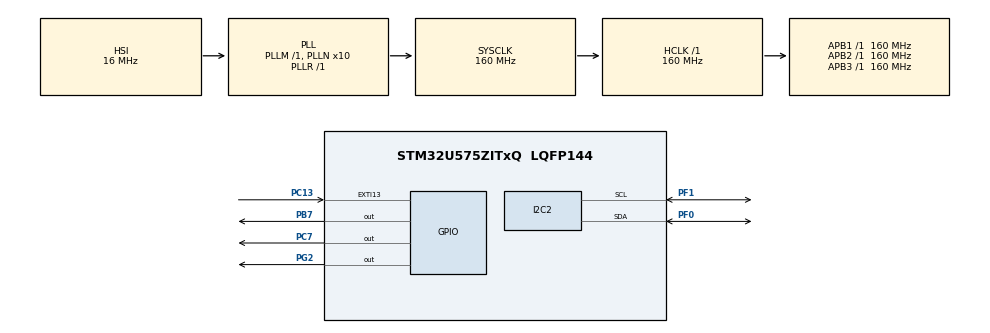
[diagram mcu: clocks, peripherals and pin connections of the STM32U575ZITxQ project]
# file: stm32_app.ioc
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CORTEX_M33_NS.userName=CORTEX_M33
I2C2.Timing=0x30909DEC
Mcu.Family=STM32U5
Mcu.Name=STM32U575ZITxQ
Mcu.Package=LQFP144
NUCLEO-U575ZI-Q.BUTTON=1
NUCLEO-U575ZI-Q.LD1=true
NUCLEO-U575ZI-Q.LD2=true
NUCLEO-U575ZI-Q.LD3=true
NUCLEO-U575ZI-Q.VCP=true
NVIC.EXTI13_IRQn=true\:0\:0\:false\:false\:true\:false\:true\:true
NVIC.PriorityGroup=NVIC_PRIORITYGROUP_3
NVIC.TIM17_IRQn=true\:7\:0\:false\:false\:true\:false\:true\:true
NVIC.TimeBase=TIM17_IRQn
NVIC.TimeBaseIP=TIM17
PA10.Signal=USART1_RX
PA13\ (JTMS/SWDIO).Mode=Serial_Wire
PA13\ (JTMS/SWDIO).Signal=DEBUG_JTMS-SWDIO
PA14\ (JTCK/SWCLK).Mode=Serial_Wire
PA14\ (JTCK/SWCLK).Signal=DEBUG_JTCK-SWCLK
PA9.Signal=USART1_TX
PB3\ (JTDO/TRACESWO).Signal=DEBUG_JTDO-SWO
PB7.Signal=GPIO_Output
PC13.Signal=GPXTI13
PC7.Signal=GPIO_Output
PF0.Mode=I2C
PF0.Signal=I2C2_SDA
PF1.Mode=I2C
PF1.Signal=I2C2_SCL
PG2.Signal=GPIO_Output
PWR.PowerMode=PWR_SMPS_SUPPLY
ProjectManager.HeapSize=0x200
ProjectManager.StackSize=0x400
ProjectManager.TargetToolchain=STM32CubeIDE
RCC.ADCFreq_Value=16000000
RCC.AHBFreq_Value=160000000
RCC.APB1Freq_Value=160000000
RCC.APB1TimFreq_Value=160000000
RCC.APB2Freq_Value=160000000
RCC.APB2TimFreq_Value=160000000
RCC.APB3Freq_Value=160000000
RCC.CortexFreq_Value=160000000
RCC.DACCLockSelectionVirtual=RCC_DAC1CLKSOURCE_LSI
RCC.EPOD_VALUE=16000000
RCC.HCLKFreq_Value=160000000
RCC.HSE_VALUE=16000000
RCC.HSI48_VALUE=48000000
RCC.HSI_VALUE=16000000
RCC.LSE_VALUE=32768
RCC.LSIDIV_VALUE=32000
RCC.MSIClockRange=RCC_MSIRANGE_0
RCC.MSI_VALUE=48000000
RCC.PLL1R=1
RCC.PLL2FRACN=0
RCC.PLL2Source=RCC_PLLSOURCE_HSI
RCC.PLL3FRACN=0
RCC.PLL3Source=RCC_PLLSOURCE_HSI
RCC.PLLFRACN=0
RCC.PLLN=10
RCC.PLLSourceVirtual=RCC_PLLSOURCE_HSI
RCC.SYSCLKFreq_VALUE=160000000
RCC.SYSCLKSource=RCC_SYSCLKSOURCE_PLLCLK
RCC.USBFreq_Value=48000000
RCC.VCOOutputFreq_Value=160000000
VP_FLASH_SIG_Activate_FlashIP.Mode=Activate_FlashIP
VP_ICACHE_VS_ENABLE_ICACHE_MEMORY.Mode=Memoryregions
VP_ICACHE_VS_ICACHE.Mode=DirectMappedCache
VP_LPBAMQUEUE_VS_QUEUE.Mode=QUEUEMODE
VP_LPBAM_VS_SIG1.Mode=SmartRun
VP_LPBAM_VS_SIG4.Mode=LPDMA1
VP_MEMORYMAP_VS_MEMORYMAP.Mode=CurAppReg
VP_NUCLEO-U575ZI-Q_VS_BSP_COMMON.Mode=COMMON
VP_PWR_VS_DBSignals.Mode=DisableDeadBatterySignals
VP_PWR_VS_LPOM.Mode=PowerOptimisation
VP_PWR_VS_SECSignals.Mode=Security/Privilege
VP_SYS_VS_tim17.Mode=TIM17
board=NUCLEO-U575ZI-Q

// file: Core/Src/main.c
/* USER CODE BEGIN Header */
/**
  ******************************************************************************
  * @file           : main.c
  * @brief          : Main program body
  ******************************************************************************
  * @attention
  *
  * Copyright (c) 2026 STMicroelectronics.
  * All rights reserved.
  *
  * This software is licensed under terms that can be found in the LICENSE file
  * in the root directory of this software component.
  * If no LICENSE file comes with this software, it is provided AS-IS.
  *
  ******************************************************************************
  */
/* USER CODE END Header */
#include "BME280_STM32.h"
#include "main.h"

/* USER CODE BEGIN Includes */
#include "stdio.h"
#include "string.h"
#include "SSD1306_OLED.h"
/* USER CODE END Includes */

COM_InitTypeDef BspCOMInit;

I2C_HandleTypeDef hi2c2;

/* USER CODE BEGIN PV */
#define RX_BUFFER_SIZE 64U

static uint8_t rxByte;

static char rxBuffer[RX_BUFFER_SIZE];

static volatile uint32_t rxIndex = 0U;

static volatile uint8_t commandReady = 0U;

extern UART_HandleTypeDef hcom_uart[];

static BME280_Data_t bmeData;
static uint32_t lastOledUpdate = 0U;

/* USER CODE END PV */

void SystemClock_Config(void);
static void SystemPower_Config(void);
static void MX_GPIO_Init(void);
static void MX_ICACHE_Init(void);
static void MX_FLASH_Init(void);
static void MX_I2C2_Init(void);
/* USER CODE BEGIN PFP */

static void Sensors_Init(void);
static void OLED_Update(void);

/* USER CODE END PFP */

/* USER CODE BEGIN 0 */

void HAL_UART_RxCpltCallback(UART_HandleTypeDef *huart)
{
    if (huart->Instance == USART1)
    {
        if ((rxByte == '\r') || (rxByte == '\n'))
        {
            if (rxIndex > 0U)
            {
                rxBuffer[rxIndex] = '\0';
                commandReady = 1U;
            }
        }
        else
        {
            if (rxIndex < (RX_BUFFER_SIZE - 1U))
            {
                rxBuffer[rxIndex] = (char)rxByte;
                rxIndex++;
            }
        }

        HAL_UART_Receive_IT(&hcom_uart[COM1], &rxByte, 1U);
    }
}

/* USER CODE END 0 */

int main(void)
{

  /* USER CODE BEGIN 1 */

  char message[64] = "Hello from STM32U575!\r\n";

  /* USER CODE END 1 */

  /* MCU Configuration--------------------------------------------------------*/

  /* Reset of all peripherals, Initializes the Flash interface and the Systick. */
  HAL_Init();

  /* Configure the System Power */
  SystemPower_Config();

  /* Configure the system clock */
  SystemClock_Config();

  /* Initialize all configured peripherals */
  MX_GPIO_Init();
  MX_ICACHE_Init();
  MX_FLASH_Init();
  MX_I2C2_Init();

  /* Initialize leds */
  BSP_LED_Init(LED_GREEN);
  BSP_LED_Init(LED_BLUE);
  BSP_LED_Init(LED_RED);

  /* Initialize USER push-button, will be used to trigger an interrupt each time it's pressed.*/
  BSP_PB_Init(BUTTON_USER, BUTTON_MODE_EXTI);

  /* Initialize COM1 port (115200, 8 bits (7-bit data + 1 stop bit), no parity */
  BspCOMInit.BaudRate   = 115200;
  BspCOMInit.WordLength = COM_WORDLENGTH_8B;
  BspCOMInit.StopBits   = COM_STOPBITS_1;
  BspCOMInit.Parity     = COM_PARITY_NONE;
  BspCOMInit.HwFlowCtl  = COM_HWCONTROL_NONE;
  if (BSP_COM_Init(COM1, &BspCOMInit) != BSP_ERROR_NONE)
  {
    Error_Handler();
  }

  /* Infinite loop */
  /* USER CODE BEGIN WHILE */
  HAL_NVIC_SetPriority(USART1_IRQn, 5U, 0U);
  HAL_NVIC_EnableIRQ(USART1_IRQn);

  HAL_UART_Transmit(&hcom_uart[COM1], (uint8_t *)message, strlen(message),1000);

  HAL_UART_Receive_IT(&hcom_uart[COM1], &rxByte, 1U);

  HAL_I2C_IsDeviceReady(&hi2c2, (0x77U << 1), 3U, 100U);

  uint8_t ledState = 0U;
  Sensors_Init();

  OLED_Update();
  lastOledUpdate = HAL_GetTick();

  while (1)
  {

    /* USER CODE END WHILE */

    /* USER CODE BEGIN 3 */
      if ((HAL_GetTick() - lastOledUpdate) >= 1000U)
      {
          lastOledUpdate = HAL_GetTick();
          OLED_Update();
      }

	  if (commandReady != 0U)
	  {
		  char message[128];

		  if (strcmp(rxBuffer, "TEST") == 0)
		  {
			  strcpy(message, "OK TEST\r\n");
		  }

		  else if (strcmp(rxBuffer, "LED 1") == 0)
		  {
			  ledState = 1U;
			  HAL_GPIO_WritePin(GPIOC, GPIO_PIN_7, GPIO_PIN_SET);
			  strcpy(message, "OK LED=1\r\n");
		  }

		  else if (strcmp(rxBuffer, "LED 0") == 0)
		  {
			  ledState = 0U;

			  HAL_GPIO_WritePin(GPIOC, GPIO_PIN_7, GPIO_PIN_RESET);
			  strcpy(message, "OK LED=0\r\n");
		  }

		  else if (strcmp(rxBuffer, "GET LED") == 0)
		  {
			  snprintf(message, sizeof(message), "OK LED=%u\r\n",(unsigned int)ledState);
		  }

		  else if (strcmp(rxBuffer, "GET BUTTON") == 0)
		  {
			  GPIO_PinState buttonState;

			  buttonState = BSP_PB_GetState(BUTTON_USER);

			  snprintf(message, sizeof(message), "OK BUTTON=%u\r\n", (unsigned int)buttonState);
		  }

		  else if (strcmp(rxBuffer, "GET INFO") == 0)
		  {
			  snprintf(message, sizeof(message),
					   "OK DEVICE= %s BOARD= %s FW= %s\r\n",
					   DEVICE_NAME, BOARD_NAME, FW_VERSION );
		  }

		  else if (strcmp(rxBuffer, "GET BME280") == 0)
		  {
		      uint8_t chipId = 0U;

		      HAL_StatusTypeDef status;

		      status = HAL_I2C_Mem_Read(&hi2c2,
		                                BME280_ADDR,
		                                CHIP_ID_REG_ADDR,
		                                I2C_MEMADD_SIZE_8BIT,
		                                &chipId,
		                                1U,
		                                100U);

		      if (status == HAL_OK)
		      {
		          BME280Calculation(&bmeData);

		          int32_t temp100;
		          uint32_t humidity100;
		          uint32_t pressure100;
		          uint32_t tempAbs;

		          temp100     = (int32_t)(bmeData.Temperature * 100.0f);
		          humidity100 = (uint32_t)(bmeData.Humidity * 100.0f);
		          pressure100 = (uint32_t)(bmeData.Pressure * 100.0f);

		          if (temp100 < 0)
		          {
		              tempAbs = (uint32_t)(-temp100);
		          }
		          else
		          {
		              tempAbs = (uint32_t)temp100;
		          }

		          snprintf(message, sizeof(message),
		                   "OK BME280 ID=0x%02X TEMP=%s%lu.%02luC HUM=%lu.%02lu%% PRESS=%lu.%02luhPa\r\n",
		                   (unsigned int)chipId, (temp100 < 0) ? "-" : "", (unsigned long)(tempAbs / 100U), (unsigned long)(tempAbs % 100U),
		                   (unsigned long)(humidity100 / 100U), (unsigned long)(humidity100 % 100U),
						   (unsigned long)(pressure100 / 100U), (unsigned long)(pressure100 % 100U));
		      }
		      else
		      {
		          strcpy(message, "ERR BME280_READ_FAILED\r\n");
		      }
		  }

		  else
		  {
			  snprintf(message, sizeof(message), "Message: %s\r\n", rxBuffer);
		  }

		  HAL_UART_Transmit(&hcom_uart[COM1], (uint8_t *)message, strlen(message), 1000U);
		  rxIndex = 0U;
		  memset(rxBuffer, 0, sizeof(rxBuffer));
		  commandReady = 0U;
	  }

  }
  /* USER CODE END 3 */
}

void SystemClock_Config(void)
{
  RCC_OscInitTypeDef RCC_OscInitStruct = {0};
  RCC_ClkInitTypeDef RCC_ClkInitStruct = {0};

  /** Configure the main internal regulator output voltage
  */
  if (HAL_PWREx_ControlVoltageScaling(PWR_REGULATOR_VOLTAGE_SCALE1) != HAL_OK)
  {
    Error_Handler();
  }

  /** Initializes the CPU, AHB and APB buses clocks
  */
  RCC_OscInitStruct.OscillatorType = RCC_OSCILLATORTYPE_HSI;
  RCC_OscInitStruct.HSIState = RCC_HSI_ON;
  RCC_OscInitStruct.HSICalibrationValue = RCC_HSICALIBRATION_DEFAULT;
  RCC_OscInitStruct.PLL.PLLState = RCC_PLL_ON;
  RCC_OscInitStruct.PLL.PLLSource = RCC_PLLSOURCE_HSI;
  RCC_OscInitStruct.PLL.PLLMBOOST = RCC_PLLMBOOST_DIV1;
  RCC_OscInitStruct.PLL.PLLM = 1;
  RCC_OscInitStruct.PLL.PLLN = 10;
  RCC_OscInitStruct.PLL.PLLP = 2;
  RCC_OscInitStruct.PLL.PLLQ = 2;
  RCC_OscInitStruct.PLL.PLLR = 1;
  RCC_OscInitStruct.PLL.PLLRGE = RCC_PLLVCIRANGE_1;
  RCC_OscInitStruct.PLL.PLLFRACN = 0;
  if (HAL_RCC_OscConfig(&RCC_OscInitStruct) != HAL_OK)
  {
    Error_Handler();
  }

  /** Initializes the CPU, AHB and APB buses clocks
  */
  RCC_ClkInitStruct.ClockType = RCC_CLOCKTYPE_HCLK|RCC_CLOCKTYPE_SYSCLK
                              |RCC_CLOCKTYPE_PCLK1|RCC_CLOCKTYPE_PCLK2
                              |RCC_CLOCKTYPE_PCLK3;
  RCC_ClkInitStruct.SYSCLKSource = RCC_SYSCLKSOURCE_PLLCLK;
  RCC_ClkInitStruct.AHBCLKDivider = RCC_SYSCLK_DIV1;
  RCC_ClkInitStruct.APB1CLKDivider = RCC_HCLK_DIV1;
  RCC_ClkInitStruct.APB2CLKDivider = RCC_HCLK_DIV1;
  RCC_ClkInitStruct.APB3CLKDivider = RCC_HCLK_DIV1;

  if (HAL_RCC_ClockConfig(&RCC_ClkInitStruct, FLASH_LATENCY_4) != HAL_OK)
  {
    Error_Handler();
  }
}

/**
  * @brief Power Configuration
  * @retval None
  */
static void SystemPower_Config(void)
{

  /*
   * Disable the internal Pull-Up in Dead Battery pins of UCPD peripheral
   */
  HAL_PWREx_DisableUCPDDeadBattery();

  /*
   * Switch to SMPS regulator instead of LDO
   */
  if (HAL_PWREx_ConfigSupply(PWR_SMPS_SUPPLY) != HAL_OK)
  {
    Error_Handler();
  }
}

static void MX_FLASH_Init(void)
{

  if (HAL_FLASH_Unlock() != HAL_OK)
  {
    Error_Handler();
  }
  if (HAL_FLASH_Lock() != HAL_OK)
  {
    Error_Handler();
  }

}

static void MX_I2C2_Init(void)
{

  hi2c2.Instance = I2C2;
  hi2c2.Init.Timing = 0x30909DEC;
  hi2c2.Init.OwnAddress1 = 0;
  hi2c2.Init.AddressingMode = I2C_ADDRESSINGMODE_7BIT;
  hi2c2.Init.DualAddressMode = I2C_DUALADDRESS_DISABLE;
  hi2c2.Init.OwnAddress2 = 0;
  hi2c2.Init.OwnAddress2Masks = I2C_OA2_NOMASK;
  hi2c2.Init.GeneralCallMode = I2C_GENERALCALL_DISABLE;
  hi2c2.Init.NoStretchMode = I2C_NOSTRETCH_DISABLE;
  if (HAL_I2C_Init(&hi2c2) != HAL_OK)
  {
    Error_Handler();
  }

  /** Configure Analogue filter
  */
  if (HAL_I2CEx_ConfigAnalogFilter(&hi2c2, I2C_ANALOGFILTER_ENABLE) != HAL_OK)
  {
    Error_Handler();
  }

  /** Configure Digital filter
  */
  if (HAL_I2CEx_ConfigDigitalFilter(&hi2c2, 0) != HAL_OK)
  {
    Error_Handler();
  }

}

static void MX_ICACHE_Init(void)
{

  /** Enable instruction cache in 1-way (direct mapped cache)
  */
  if (HAL_ICACHE_ConfigAssociativityMode(ICACHE_1WAY) != HAL_OK)
  {
    Error_Handler();
  }
  if (HAL_ICACHE_Enable() != HAL_OK)
  {
    Error_Handler();
  }

}

static void MX_GPIO_Init(void)
{

  /* GPIO Ports Clock Enable */
  __HAL_RCC_GPIOF_CLK_ENABLE();
  __HAL_RCC_GPIOA_CLK_ENABLE();
  __HAL_RCC_GPIOB_CLK_ENABLE();

}

/* USER CODE BEGIN 4 */
static void Sensors_Init(void)
{
	//BME280 ENV sensor INIT
    BME280_Init_t config = {0};

    Reset_BME280();

    config.Filter         = FILTER_8;
    config.Mode           = BME280_NORMAL_MODE;
    config.OverSampling_H = OVERSAMPLING_16;
    config.OverSampling_P = OVERSAMPLING_16;
    config.OverSampling_T = OVERSAMPLING_16;
    config.SPI_EnOrDıs    = SPI3_W_DISABLE;
    config.T_StandBy      = T_SB_250;

    BME280Init(config);

    //OLED Screen INIT
    if (SSD1306_Init(&hi2c2) != HAL_OK)
    {
      Error_Handler();
    }

}

static void OLED_Update(void)
{
    char line[24];

    BME280Calculation(&bmeData);

    int32_t temp10 = (int32_t)(bmeData.Temperature * 10.0f);
    uint32_t hum10 = (uint32_t)(bmeData.Humidity * 10.0f);
    uint32_t press10 = (uint32_t)(bmeData.Pressure * 10.0f);

    uint32_t tempAbs;

    if (temp10 < 0)
    {
        tempAbs = (uint32_t)(-temp10);
    }
    else
    {
        tempAbs = (uint32_t)temp10;
    }

    SSD1306_Clear();

    SSD1306_SetCursor(0U, 0U);
    snprintf(line, sizeof(line), "%s", BOARD_NAME);
    SSD1306_WriteString(line);

    SSD1306_SetCursor(0U, 8U);
    snprintf(line, sizeof(line), "FW %s", FW_VERSION);
    SSD1306_WriteString(line);

    SSD1306_SetCursor(0U, 24U);
    snprintf(line, sizeof(line), "TEMP %s%lu.%lu C", (temp10 < 0) ? "-" : "" ,(tempAbs / 10U),(tempAbs % 10U));
    SSD1306_WriteString(line);

    SSD1306_SetCursor(0U, 32U);
    snprintf(line, sizeof(line), "HUM %lu.%lu %%",(hum10 / 10U),(hum10 % 10U));
    SSD1306_WriteString(line);

    SSD1306_SetCursor(0U, 40U);
    snprintf(line, sizeof(line), "PRESS %lu.%lu HPA",(press10 / 10U),(press10 % 10U));
    SSD1306_WriteString(line);

    (void)SSD1306_UpdateScreen();
}
/* USER CODE END 4 */

void HAL_TIM_PeriodElapsedCallback(TIM_HandleTypeDef *htim)
{
  if (htim->Instance == TIM17) {
    HAL_IncTick();
  }
}

void Error_Handler(void)
{
  __disable_irq();
  while (1)
  {
  }
}
